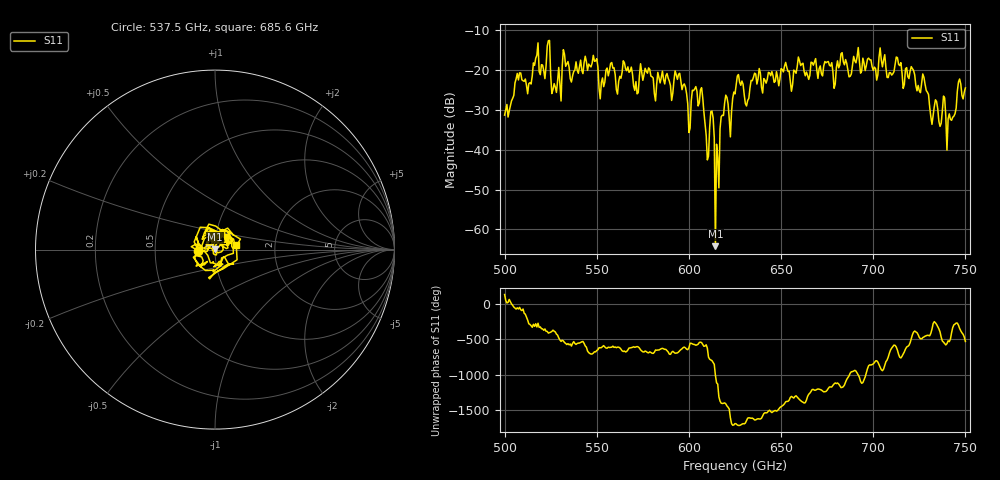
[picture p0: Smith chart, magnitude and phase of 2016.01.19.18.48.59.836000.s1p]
!Created with skrf (http://scikit-rf.org).
# GHz S RI R 50.0
!freq ReS11 ImS11
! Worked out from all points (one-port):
!   401 points, 500 GHz to 750 GHz, reference 50 ohm
!   lowest |S11| = -64.2 dB at 614.4 GHz (marker M1), VSWR 1.00, Z = 50 + j0.0575 ohm
!   |S11| at or under -10 dB: start of sweep to end of sweep
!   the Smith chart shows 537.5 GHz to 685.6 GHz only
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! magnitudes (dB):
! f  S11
! 500 GHz  -31.3
! 507.5 GHz  -22.5
! 513.8 GHz  -23.2
! 516.9 GHz  -17.0
! 523.8 GHz  -12.6
! 526.9 GHz  -23.4
! 531.2 GHz  -19.1
! 548.8 GHz  -17.8
! 552.5 GHz  -23.1
! 558.1 GHz  -18.1
! 562.5 GHz  -21.6
! 593.8 GHz  -22.3
! 600 GHz  -35.7
! 606.9 GHz  -24.4
! 610 GHz  -42.6
! 612.5 GHz  -30.3
! 614.4 GHz  -64.2
! 615.6 GHz  -42.0
! 618.8 GHz  -31.4
! 622.5 GHz  -36.8
! 625 GHz  -26.0
! 656.2 GHz  -23.6
! 660.6 GHz  -18.9
! 687.5 GHz  -21.6
! 718.8 GHz  -21.6
! 741.2 GHz  -31.0
! 746.9 GHz  -22.2
! 750 GHz  -24.5
